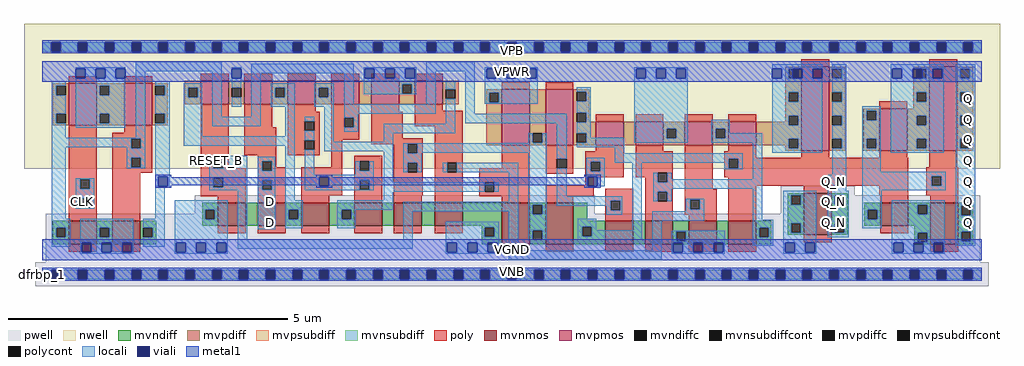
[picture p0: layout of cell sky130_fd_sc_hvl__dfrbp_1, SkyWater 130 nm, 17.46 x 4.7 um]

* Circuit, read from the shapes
.subckt sky130_fd_sc_hvl__dfrbp_1 CLK D RESET_B VGND VNB VPB VPWR Q Q_N
XM1 VGND CLK n1 VNB sky130_fd_pr__nfet_g5v0d10v5 w=0.42 l=0.5
XM2 n2 n1 VGND VNB sky130_fd_pr__nfet_g5v0d10v5 w=0.42 l=0.5
XM3 n3 RESET_B VGND VNB sky130_fd_pr__nfet_g5v0d10v5 w=0.42 l=0.5
XM4 n4 D n3 VNB sky130_fd_pr__nfet_g5v0d10v5 w=0.42 l=0.5
XM5 n5 n1 n4 VNB sky130_fd_pr__nfet_g5v0d10v5 w=0.42 l=0.5
XM6 n6 n2 n5 VNB sky130_fd_pr__nfet_g5v0d10v5 w=0.42 l=0.5
XM7 n7 n8 n6 VNB sky130_fd_pr__nfet_g5v0d10v5 w=0.42 l=0.5
XM8 VGND RESET_B n7 VNB sky130_fd_pr__nfet_g5v0d10v5 w=0.42 l=0.5
XM9 n8 n5 VGND VNB sky130_fd_pr__nfet_g5v0d10v5 w=0.75 l=0.5
XM10 n9 n2 n8 VNB sky130_fd_pr__nfet_g5v0d10v5 w=0.75 l=0.5
XM11 n10 n1 n9 VNB sky130_fd_pr__nfet_g5v0d10v5 w=0.42 l=0.5
XM12 VGND n11 n10 VNB sky130_fd_pr__nfet_g5v0d10v5 w=0.42 l=0.5
XM13 n12 RESET_B VGND VNB sky130_fd_pr__nfet_g5v0d10v5 w=0.42 l=0.5
XM14 n11 n9 n12 VNB sky130_fd_pr__nfet_g5v0d10v5 w=0.42 l=0.5
XM15 Q_N n9 VGND VNB sky130_fd_pr__nfet_g5v0d10v5 w=0.75 l=0.5
XM16 VGND n9 n13 VNB sky130_fd_pr__nfet_g5v0d10v5 w=0.42 l=0.5
XM17 Q n13 VGND VNB sky130_fd_pr__nfet_g5v0d10v5 w=0.75 l=0.5
XM18 VPWR CLK n1 VPB sky130_fd_pr__pfet_g5v0d10v5 w=0.75 l=0.5
XM19 n2 n1 VPWR VPB sky130_fd_pr__pfet_g5v0d10v5 w=0.75 l=0.5
XM20 VPWR RESET_B n4 VPB sky130_fd_pr__pfet_g5v0d10v5 w=0.42 l=0.5
XM21 n4 D VPWR VPB sky130_fd_pr__pfet_g5v0d10v5 w=0.42 l=0.5
XM22 n5 n2 n4 VPB sky130_fd_pr__pfet_g5v0d10v5 w=0.42 l=0.5
XM23 n14 n1 n5 VPB sky130_fd_pr__pfet_g5v0d10v5 w=0.42 l=0.5
XM24 VPWR n8 n14 VPB sky130_fd_pr__pfet_g5v0d10v5 w=0.42 l=0.5
XM25 n5 RESET_B VPWR VPB sky130_fd_pr__pfet_g5v0d10v5 w=0.42 l=0.5
XM26 n8 n5 VPWR VPB sky130_fd_pr__pfet_g5v0d10v5 w=1 l=0.5
XM27 n9 n1 n8 VPB sky130_fd_pr__pfet_g5v0d10v5 w=1 l=0.5
XM28 n15 n2 n9 VPB sky130_fd_pr__pfet_g5v0d10v5 w=0.42 l=0.5
XM29 VPWR n11 n15 VPB sky130_fd_pr__pfet_g5v0d10v5 w=0.42 l=0.5
XM30 n11 RESET_B VPWR VPB sky130_fd_pr__pfet_g5v0d10v5 w=0.42 l=0.5
XM31 VPWR n9 n11 VPB sky130_fd_pr__pfet_g5v0d10v5 w=0.42 l=0.5
XM32 Q_N n9 VPWR VPB sky130_fd_pr__pfet_g5v0d10v5 w=1.5 l=0.5
XM33 VPWR n9 n13 VPB sky130_fd_pr__pfet_g5v0d10v5 w=0.75 l=0.5
XM34 Q n13 VPWR VPB sky130_fd_pr__pfet_g5v0d10v5 w=1.5 l=0.5
.ends

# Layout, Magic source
magic
tech sky130A
magscale 1 2
<< nwell >>
rect -66 377 3426 897
<< pwell >>
rect 2641 283 2907 317
rect 545 217 1976 283
rect 2641 217 3356 283
rect 11 43 3356 217
rect -26 -43 3386 43
<< mvnmos >>
rect 94 107 194 191
rect 250 107 350 191
rect 628 173 728 257
rect 770 173 870 257
rect 926 173 1026 257
rect 1115 173 1215 257
rect 1257 173 1357 257
rect 1403 173 1503 257
rect 1644 107 1744 257
rect 1800 107 1900 257
rect 2014 107 2114 191
rect 2156 107 2256 191
rect 2312 107 2412 191
rect 2454 107 2554 191
rect 2724 141 2824 291
rect 2998 173 3098 257
rect 3177 107 3277 257
<< mvpmos >>
rect 94 533 194 683
rect 292 533 392 683
rect 566 608 666 692
rect 722 608 822 692
rect 878 608 978 692
rect 1034 608 1134 692
rect 1176 608 1276 692
rect 1332 608 1432 692
rect 1644 462 1744 662
rect 1800 462 1900 662
rect 1979 462 2079 546
rect 2122 462 2222 546
rect 2298 462 2398 546
rect 2454 462 2554 546
rect 2715 443 2815 743
rect 2994 443 3094 593
rect 3173 443 3273 743
<< mvndiff >>
rect 571 232 628 257
rect 571 198 583 232
rect 617 198 628 232
rect 37 166 94 191
rect 37 132 49 166
rect 83 132 94 166
rect 37 107 94 132
rect 194 166 250 191
rect 194 132 205 166
rect 239 132 250 166
rect 194 107 250 132
rect 350 166 407 191
rect 571 173 628 198
rect 728 173 770 257
rect 870 232 926 257
rect 870 198 881 232
rect 915 198 926 232
rect 870 173 926 198
rect 1026 232 1115 257
rect 1026 198 1070 232
rect 1104 198 1115 232
rect 1026 173 1115 198
rect 1215 173 1257 257
rect 1357 173 1403 257
rect 1503 173 1644 257
rect 350 132 361 166
rect 395 132 407 166
rect 1571 169 1644 173
rect 350 107 407 132
rect 1571 135 1583 169
rect 1617 135 1644 169
rect 1571 107 1644 135
rect 1744 249 1800 257
rect 1744 215 1755 249
rect 1789 215 1800 249
rect 1744 157 1800 215
rect 1744 123 1755 157
rect 1789 123 1800 157
rect 1744 107 1800 123
rect 1900 191 1950 257
rect 2667 283 2724 291
rect 2667 249 2679 283
rect 2713 249 2724 283
rect 1900 170 2014 191
rect 1900 136 1932 170
rect 1966 136 2014 170
rect 1900 107 2014 136
rect 2114 107 2156 191
rect 2256 152 2312 191
rect 2256 118 2267 152
rect 2301 118 2312 152
rect 2256 107 2312 118
rect 2412 107 2454 191
rect 2554 166 2607 191
rect 2554 132 2565 166
rect 2599 132 2607 166
rect 2667 183 2724 249
rect 2667 149 2679 183
rect 2713 149 2724 183
rect 2667 141 2724 149
rect 2824 283 2881 291
rect 2824 249 2835 283
rect 2869 249 2881 283
rect 2824 183 2881 249
rect 2824 149 2835 183
rect 2869 149 2881 183
rect 2941 232 2998 257
rect 2941 198 2953 232
rect 2987 198 2998 232
rect 2941 173 2998 198
rect 3098 249 3177 257
rect 3098 215 3132 249
rect 3166 215 3177 249
rect 3098 173 3177 215
rect 2824 141 2881 149
rect 3120 149 3177 173
rect 2554 107 2607 132
rect 3120 115 3132 149
rect 3166 115 3177 149
rect 3120 107 3177 115
rect 3277 245 3330 257
rect 3277 211 3288 245
rect 3322 211 3330 245
rect 3277 153 3330 211
rect 3277 119 3288 153
rect 3322 119 3330 153
rect 3277 107 3330 119
<< mvpdiff >>
rect 2658 735 2715 743
rect 2658 701 2670 735
rect 2704 701 2715 735
rect 37 675 94 683
rect 37 641 49 675
rect 83 641 94 675
rect 37 575 94 641
rect 37 541 49 575
rect 83 541 94 575
rect 37 533 94 541
rect 194 675 292 683
rect 194 641 205 675
rect 239 641 292 675
rect 194 575 292 641
rect 194 541 205 575
rect 239 541 292 575
rect 194 533 292 541
rect 392 675 449 683
rect 392 641 403 675
rect 437 641 449 675
rect 392 575 449 641
rect 509 667 566 692
rect 509 633 521 667
rect 555 633 566 667
rect 509 608 566 633
rect 666 667 722 692
rect 666 633 677 667
rect 711 633 722 667
rect 666 608 722 633
rect 822 667 878 692
rect 822 633 833 667
rect 867 633 878 667
rect 822 608 878 633
rect 978 667 1034 692
rect 978 633 989 667
rect 1023 633 1034 667
rect 978 608 1034 633
rect 1134 608 1176 692
rect 1276 681 1332 692
rect 1276 647 1287 681
rect 1321 647 1332 681
rect 1276 608 1332 647
rect 1432 662 1489 692
rect 1432 628 1443 662
rect 1477 628 1489 662
rect 1432 608 1489 628
rect 1587 649 1644 662
rect 1587 615 1599 649
rect 1633 615 1644 649
rect 392 541 403 575
rect 437 541 449 575
rect 392 533 449 541
rect 1587 462 1644 615
rect 1744 504 1800 662
rect 1744 470 1755 504
rect 1789 470 1800 504
rect 1744 462 1800 470
rect 1900 654 1957 662
rect 1900 620 1911 654
rect 1945 620 1957 654
rect 1900 579 1957 620
rect 1900 545 1911 579
rect 1945 546 1957 579
rect 2658 652 2715 701
rect 2658 618 2670 652
rect 2704 618 2715 652
rect 2658 568 2715 618
rect 2658 546 2670 568
rect 1945 545 1979 546
rect 1900 504 1979 545
rect 1900 470 1911 504
rect 1945 470 1979 504
rect 1900 462 1979 470
rect 2079 462 2122 546
rect 2222 521 2298 546
rect 2222 487 2233 521
rect 2267 487 2298 521
rect 2222 462 2298 487
rect 2398 521 2454 546
rect 2398 487 2409 521
rect 2443 487 2454 521
rect 2398 462 2454 487
rect 2554 534 2670 546
rect 2704 534 2715 568
rect 2554 485 2715 534
rect 2554 462 2670 485
rect 2658 451 2670 462
rect 2704 451 2715 485
rect 2658 443 2715 451
rect 2815 735 2872 743
rect 2815 701 2826 735
rect 2860 701 2872 735
rect 2815 652 2872 701
rect 2815 618 2826 652
rect 2860 618 2872 652
rect 3116 735 3173 743
rect 3116 701 3128 735
rect 3162 701 3173 735
rect 3116 652 3173 701
rect 2815 568 2872 618
rect 3116 618 3128 652
rect 3162 618 3173 652
rect 3116 593 3173 618
rect 2815 534 2826 568
rect 2860 534 2872 568
rect 2815 485 2872 534
rect 2815 451 2826 485
rect 2860 451 2872 485
rect 2815 443 2872 451
rect 2937 585 2994 593
rect 2937 551 2949 585
rect 2983 551 2994 585
rect 2937 485 2994 551
rect 2937 451 2949 485
rect 2983 451 2994 485
rect 2937 443 2994 451
rect 3094 568 3173 593
rect 3094 534 3128 568
rect 3162 534 3173 568
rect 3094 485 3173 534
rect 3094 451 3128 485
rect 3162 451 3173 485
rect 3094 443 3173 451
rect 3273 735 3330 743
rect 3273 701 3284 735
rect 3318 701 3330 735
rect 3273 652 3330 701
rect 3273 618 3284 652
rect 3318 618 3330 652
rect 3273 568 3330 618
rect 3273 534 3284 568
rect 3318 534 3330 568
rect 3273 485 3330 534
rect 3273 451 3284 485
rect 3318 451 3330 485
rect 3273 443 3330 451
<< mvndiffc >>
rect 583 198 617 232
rect 49 132 83 166
rect 205 132 239 166
rect 881 198 915 232
rect 1070 198 1104 232
rect 361 132 395 166
rect 1583 135 1617 169
rect 1755 215 1789 249
rect 1755 123 1789 157
rect 2679 249 2713 283
rect 1932 136 1966 170
rect 2267 118 2301 152
rect 2565 132 2599 166
rect 2679 149 2713 183
rect 2835 249 2869 283
rect 2835 149 2869 183
rect 2953 198 2987 232
rect 3132 215 3166 249
rect 3132 115 3166 149
rect 3288 211 3322 245
rect 3288 119 3322 153
<< mvpdiffc >>
rect 2670 701 2704 735
rect 49 641 83 675
rect 49 541 83 575
rect 205 641 239 675
rect 205 541 239 575
rect 403 641 437 675
rect 521 633 555 667
rect 677 633 711 667
rect 833 633 867 667
rect 989 633 1023 667
rect 1287 647 1321 681
rect 1443 628 1477 662
rect 1599 615 1633 649
rect 403 541 437 575
rect 1755 470 1789 504
rect 1911 620 1945 654
rect 1911 545 1945 579
rect 2670 618 2704 652
rect 1911 470 1945 504
rect 2233 487 2267 521
rect 2409 487 2443 521
rect 2670 534 2704 568
rect 2670 451 2704 485
rect 2826 701 2860 735
rect 2826 618 2860 652
rect 3128 701 3162 735
rect 3128 618 3162 652
rect 2826 534 2860 568
rect 2826 451 2860 485
rect 2949 551 2983 585
rect 2949 451 2983 485
rect 3128 534 3162 568
rect 3128 451 3162 485
rect 3284 701 3318 735
rect 3284 618 3318 652
rect 3284 534 3318 568
rect 3284 451 3318 485
<< mvpsubdiff >>
rect 0 -17 31 17
rect 65 -17 127 17
rect 161 -17 223 17
rect 257 -17 319 17
rect 353 -17 415 17
rect 449 -17 511 17
rect 545 -17 607 17
rect 641 -17 703 17
rect 737 -17 799 17
rect 833 -17 895 17
rect 929 -17 991 17
rect 1025 -17 1087 17
rect 1121 -17 1183 17
rect 1217 -17 1279 17
rect 1313 -17 1375 17
rect 1409 -17 1471 17
rect 1505 -17 1567 17
rect 1601 -17 1663 17
rect 1697 -17 1759 17
rect 1793 -17 1855 17
rect 1889 -17 1951 17
rect 1985 -17 2047 17
rect 2081 -17 2143 17
rect 2177 -17 2239 17
rect 2273 -17 2335 17
rect 2369 -17 2431 17
rect 2465 -17 2527 17
rect 2561 -17 2623 17
rect 2657 -17 2719 17
rect 2753 -17 2815 17
rect 2849 -17 2911 17
rect 2945 -17 3007 17
rect 3041 -17 3103 17
rect 3137 -17 3199 17
rect 3233 -17 3295 17
rect 3329 -17 3360 17
<< mvnsubdiff >>
rect 0 797 31 831
rect 65 797 127 831
rect 161 797 223 831
rect 257 797 319 831
rect 353 797 415 831
rect 449 797 511 831
rect 545 797 607 831
rect 641 797 703 831
rect 737 797 799 831
rect 833 797 895 831
rect 929 797 991 831
rect 1025 797 1087 831
rect 1121 797 1183 831
rect 1217 797 1279 831
rect 1313 797 1375 831
rect 1409 797 1471 831
rect 1505 797 1567 831
rect 1601 797 1663 831
rect 1697 797 1759 831
rect 1793 797 1855 831
rect 1889 797 1951 831
rect 1985 797 2047 831
rect 2081 797 2143 831
rect 2177 797 2239 831
rect 2273 797 2335 831
rect 2369 797 2431 831
rect 2465 797 2527 831
rect 2561 797 2623 831
rect 2657 797 2719 831
rect 2753 797 2815 831
rect 2849 797 2911 831
rect 2945 797 3007 831
rect 3041 797 3103 831
rect 3137 797 3199 831
rect 3233 797 3295 831
rect 3329 797 3360 831
<< mvpsubdiffcont >>
rect 31 -17 65 17
rect 127 -17 161 17
rect 223 -17 257 17
rect 319 -17 353 17
rect 415 -17 449 17
rect 511 -17 545 17
rect 607 -17 641 17
rect 703 -17 737 17
rect 799 -17 833 17
rect 895 -17 929 17
rect 991 -17 1025 17
rect 1087 -17 1121 17
rect 1183 -17 1217 17
rect 1279 -17 1313 17
rect 1375 -17 1409 17
rect 1471 -17 1505 17
rect 1567 -17 1601 17
rect 1663 -17 1697 17
rect 1759 -17 1793 17
rect 1855 -17 1889 17
rect 1951 -17 1985 17
rect 2047 -17 2081 17
rect 2143 -17 2177 17
rect 2239 -17 2273 17
rect 2335 -17 2369 17
rect 2431 -17 2465 17
rect 2527 -17 2561 17
rect 2623 -17 2657 17
rect 2719 -17 2753 17
rect 2815 -17 2849 17
rect 2911 -17 2945 17
rect 3007 -17 3041 17
rect 3103 -17 3137 17
rect 3199 -17 3233 17
rect 3295 -17 3329 17
<< mvnsubdiffcont >>
rect 31 797 65 831
rect 127 797 161 831
rect 223 797 257 831
rect 319 797 353 831
rect 415 797 449 831
rect 511 797 545 831
rect 607 797 641 831
rect 703 797 737 831
rect 799 797 833 831
rect 895 797 929 831
rect 991 797 1025 831
rect 1087 797 1121 831
rect 1183 797 1217 831
rect 1279 797 1313 831
rect 1375 797 1409 831
rect 1471 797 1505 831
rect 1567 797 1601 831
rect 1663 797 1697 831
rect 1759 797 1793 831
rect 1855 797 1889 831
rect 1951 797 1985 831
rect 2047 797 2081 831
rect 2143 797 2177 831
rect 2239 797 2273 831
rect 2335 797 2369 831
rect 2431 797 2465 831
rect 2527 797 2561 831
rect 2623 797 2657 831
rect 2719 797 2753 831
rect 2815 797 2849 831
rect 2911 797 2945 831
rect 3007 797 3041 831
rect 3103 797 3137 831
rect 3199 797 3233 831
rect 3295 797 3329 831
<< poly >>
rect 2715 743 2815 769
rect 3173 743 3273 769
rect 94 683 194 709
rect 292 683 392 709
rect 566 692 666 718
rect 722 692 822 718
rect 878 692 978 718
rect 1034 692 1134 718
rect 1176 692 1276 718
rect 1332 692 1432 718
rect 1644 662 1744 688
rect 1800 662 1900 688
rect 94 341 194 533
rect 292 507 392 533
rect 94 307 135 341
rect 169 307 194 341
rect 94 273 194 307
rect 94 239 135 273
rect 169 239 194 273
rect 94 191 194 239
rect 250 485 392 507
rect 250 451 317 485
rect 351 451 392 485
rect 250 417 392 451
rect 250 383 317 417
rect 351 383 392 417
rect 250 363 392 383
rect 566 413 666 608
rect 722 527 822 608
rect 878 582 978 608
rect 878 548 992 582
rect 722 427 836 527
rect 566 379 612 413
rect 646 379 666 413
rect 770 405 836 427
rect 878 514 939 548
rect 973 514 992 548
rect 878 480 992 514
rect 878 446 939 480
rect 973 446 992 480
rect 878 426 992 446
rect 1034 560 1134 608
rect 1034 526 1080 560
rect 1114 526 1134 560
rect 1034 482 1134 526
rect 1176 582 1276 608
rect 1332 586 1432 608
rect 1176 487 1290 582
rect 1332 529 1503 586
rect 250 191 350 363
rect 566 345 728 379
rect 566 311 612 345
rect 646 311 728 345
rect 566 279 728 311
rect 628 257 728 279
rect 770 371 786 405
rect 820 383 836 405
rect 1034 383 1073 482
rect 1176 467 1361 487
rect 1176 466 1307 467
rect 1257 433 1307 466
rect 1341 433 1361 467
rect 820 371 870 383
rect 770 337 870 371
rect 770 303 786 337
rect 820 303 870 337
rect 770 257 870 303
rect 926 283 1073 383
rect 1115 404 1215 424
rect 1115 370 1135 404
rect 1169 370 1215 404
rect 1115 336 1215 370
rect 1115 302 1135 336
rect 1169 302 1215 336
rect 926 257 1026 283
rect 1115 257 1215 302
rect 1257 399 1361 433
rect 1257 365 1307 399
rect 1341 365 1361 399
rect 1257 283 1361 365
rect 1403 399 1503 529
rect 1979 546 2079 572
rect 2122 546 2222 572
rect 2298 546 2398 572
rect 2454 546 2554 572
rect 1403 365 1449 399
rect 1483 365 1503 399
rect 1644 379 1744 462
rect 1257 257 1357 283
rect 1403 257 1503 365
rect 1563 329 1744 379
rect 1800 414 1900 462
rect 1979 440 2079 462
rect 1800 380 1841 414
rect 1875 380 1900 414
rect 1800 360 1900 380
rect 1942 402 2079 440
rect 1942 368 1962 402
rect 1996 368 2079 402
rect 1563 295 1583 329
rect 1617 295 1744 329
rect 1942 348 2079 368
rect 2122 440 2222 462
rect 2122 364 2256 440
rect 2122 348 2202 364
rect 1942 318 1972 348
rect 1563 279 1744 295
rect 1644 257 1744 279
rect 1800 279 1972 318
rect 2156 330 2202 348
rect 2236 330 2256 364
rect 1800 257 1900 279
rect 2014 264 2114 306
rect 628 147 728 173
rect 770 147 870 173
rect 926 147 1026 173
rect 1115 147 1215 173
rect 1257 147 1357 173
rect 1403 147 1503 173
rect 2014 230 2034 264
rect 2068 230 2114 264
rect 2014 191 2114 230
rect 2156 296 2256 330
rect 2156 262 2202 296
rect 2236 262 2256 296
rect 2156 191 2256 262
rect 2298 305 2398 462
rect 2454 440 2554 462
rect 2994 593 3094 619
rect 2440 417 2554 440
rect 2715 417 2815 443
rect 2994 417 3094 443
rect 2440 414 3098 417
rect 2440 380 2456 414
rect 2490 380 3098 414
rect 3173 383 3273 443
rect 2440 347 3098 380
rect 2454 317 3098 347
rect 2298 267 2412 305
rect 2298 233 2318 267
rect 2352 233 2412 267
rect 2298 213 2412 233
rect 2312 191 2412 213
rect 2454 191 2554 317
rect 2724 291 2824 317
rect 2994 283 3098 317
rect 3162 351 3277 383
rect 3162 317 3182 351
rect 3216 317 3277 351
rect 3162 283 3277 317
rect 2998 257 3098 283
rect 3177 257 3277 283
rect 2998 147 3098 173
rect 2724 115 2824 141
rect 94 81 194 107
rect 250 81 350 107
rect 1644 81 1744 107
rect 1800 81 1900 107
rect 2014 81 2114 107
rect 2156 81 2256 107
rect 2312 81 2412 107
rect 2454 81 2554 107
rect 3177 81 3277 107
<< polycont >>
rect 135 307 169 341
rect 135 239 169 273
rect 317 451 351 485
rect 317 383 351 417
rect 612 379 646 413
rect 939 514 973 548
rect 939 446 973 480
rect 1080 526 1114 560
rect 612 311 646 345
rect 786 371 820 405
rect 1307 433 1341 467
rect 786 303 820 337
rect 1135 370 1169 404
rect 1135 302 1169 336
rect 1307 365 1341 399
rect 1449 365 1483 399
rect 1841 380 1875 414
rect 1962 368 1996 402
rect 1583 295 1617 329
rect 2202 330 2236 364
rect 2034 230 2068 264
rect 2202 262 2236 296
rect 2456 380 2490 414
rect 2318 233 2352 267
rect 3182 317 3216 351
<< locali >>
rect 0 797 31 831
rect 65 797 127 831
rect 161 797 223 831
rect 257 797 319 831
rect 353 797 415 831
rect 449 797 511 831
rect 545 797 607 831
rect 641 797 703 831
rect 737 797 799 831
rect 833 797 895 831
rect 929 797 991 831
rect 1025 797 1087 831
rect 1121 797 1183 831
rect 1217 797 1279 831
rect 1313 797 1375 831
rect 1409 797 1471 831
rect 1505 797 1567 831
rect 1601 797 1663 831
rect 1697 797 1759 831
rect 1793 797 1855 831
rect 1889 797 1951 831
rect 1985 797 2047 831
rect 2081 797 2143 831
rect 2177 797 2239 831
rect 2273 797 2335 831
rect 2369 797 2431 831
rect 2465 797 2527 831
rect 2561 797 2623 831
rect 2657 797 2719 831
rect 2753 797 2815 831
rect 2849 797 2911 831
rect 2945 797 3007 831
rect 3041 797 3103 831
rect 3137 797 3199 831
rect 3233 797 3295 831
rect 3329 797 3360 831
rect 119 735 297 741
rect 153 701 191 735
rect 225 701 263 735
rect 33 675 83 691
rect 33 641 49 675
rect 33 575 83 641
rect 33 541 49 575
rect 33 489 83 541
rect 119 675 297 701
rect 119 641 205 675
rect 239 641 297 675
rect 119 575 297 641
rect 119 541 205 575
rect 239 541 297 575
rect 119 525 297 541
rect 333 727 641 761
rect 333 489 367 727
rect 33 485 367 489
rect 33 455 317 485
rect 33 199 83 455
rect 301 451 317 455
rect 351 451 367 485
rect 301 417 367 451
rect 301 383 317 417
rect 351 383 367 417
rect 301 380 367 383
rect 403 675 455 691
rect 437 641 455 675
rect 403 575 455 641
rect 437 541 455 575
rect 403 350 455 541
rect 505 667 571 684
rect 505 633 521 667
rect 555 633 571 667
rect 505 494 571 633
rect 607 564 641 727
rect 677 735 711 741
rect 677 667 711 701
rect 677 600 711 633
rect 747 720 1113 754
rect 747 564 781 720
rect 817 667 903 684
rect 817 633 833 667
rect 867 633 903 667
rect 817 600 903 633
rect 973 667 1043 684
rect 973 633 989 667
rect 1023 633 1043 667
rect 973 600 1043 633
rect 607 530 781 564
rect 869 494 903 600
rect 505 460 903 494
rect 119 341 185 344
rect 119 307 135 341
rect 169 307 185 341
rect 119 273 185 307
rect 119 239 135 273
rect 169 239 185 273
rect 119 235 185 239
rect 403 316 415 350
rect 449 316 455 350
rect 403 310 455 316
rect 596 413 733 424
rect 596 379 612 413
rect 646 379 733 413
rect 596 345 733 379
rect 596 311 612 345
rect 646 311 733 345
rect 403 199 437 310
rect 596 301 733 311
rect 33 166 99 199
rect 33 132 49 166
rect 83 132 99 166
rect 33 99 99 132
rect 135 166 325 199
rect 135 132 205 166
rect 239 132 325 166
rect 135 113 325 132
rect 135 79 141 113
rect 175 79 213 113
rect 247 79 285 113
rect 319 79 325 113
rect 361 166 437 199
rect 395 132 437 166
rect 361 99 437 132
rect 473 232 663 265
rect 473 198 583 232
rect 617 198 663 232
rect 473 113 663 198
rect 135 73 325 79
rect 473 79 479 113
rect 513 79 551 113
rect 585 79 623 113
rect 657 79 663 113
rect 699 126 733 301
rect 770 405 833 421
rect 770 371 786 405
rect 820 371 833 405
rect 770 337 833 371
rect 770 303 786 337
rect 820 303 833 337
rect 770 162 833 303
rect 869 265 903 460
rect 939 548 973 564
rect 939 480 973 514
rect 939 356 973 446
rect 1009 474 1043 600
rect 1079 609 1113 720
rect 1149 735 1337 741
rect 1149 701 1154 735
rect 1188 701 1226 735
rect 1260 701 1298 735
rect 1332 701 1337 735
rect 1149 681 1337 701
rect 1149 647 1287 681
rect 1321 647 1337 681
rect 1149 645 1337 647
rect 1373 727 1547 761
rect 1373 609 1407 727
rect 1079 575 1407 609
rect 1443 662 1477 691
rect 1079 560 1130 575
rect 1079 526 1080 560
rect 1114 526 1130 560
rect 1443 539 1477 628
rect 1513 574 1547 727
rect 1583 735 1773 741
rect 1583 701 1589 735
rect 1623 701 1661 735
rect 1695 701 1733 735
rect 1767 701 1773 735
rect 1583 649 1773 701
rect 2118 735 2308 741
rect 2118 701 2124 735
rect 2158 701 2196 735
rect 2230 701 2268 735
rect 2302 701 2308 735
rect 1583 615 1599 649
rect 1633 615 1773 649
rect 1583 610 1773 615
rect 1911 654 1961 670
rect 1945 620 1961 654
rect 1911 579 1961 620
rect 1513 540 1875 574
rect 1079 510 1130 526
rect 1221 505 1477 539
rect 1221 474 1255 505
rect 1009 440 1255 474
rect 1739 470 1755 504
rect 1789 470 1805 504
rect 1739 469 1805 470
rect 1119 370 1135 404
rect 1169 370 1185 404
rect 1119 356 1185 370
rect 939 350 1185 356
rect 939 316 991 350
rect 1025 336 1185 350
rect 1025 316 1135 336
rect 939 302 1135 316
rect 1169 302 1185 336
rect 939 301 1185 302
rect 1221 329 1255 440
rect 1291 467 1805 469
rect 1291 433 1307 467
rect 1341 435 1805 467
rect 1341 433 1357 435
rect 1291 399 1357 433
rect 1291 365 1307 399
rect 1341 365 1357 399
rect 1433 365 1449 399
rect 1483 365 1703 399
rect 1221 295 1583 329
rect 1617 295 1633 329
rect 1221 265 1255 295
rect 869 232 931 265
rect 869 198 881 232
rect 915 198 931 232
rect 869 165 931 198
rect 1054 232 1255 265
rect 1669 259 1703 365
rect 1054 198 1070 232
rect 1104 231 1255 232
rect 1104 198 1120 231
rect 1054 165 1120 198
rect 1291 225 1703 259
rect 1291 126 1325 225
rect 699 92 1325 126
rect 1443 169 1633 189
rect 1443 135 1583 169
rect 1617 135 1633 169
rect 1443 113 1633 135
rect 473 73 663 79
rect 1443 79 1449 113
rect 1483 79 1521 113
rect 1555 79 1593 113
rect 1627 79 1633 113
rect 1443 73 1633 79
rect 1669 87 1703 225
rect 1739 249 1805 435
rect 1739 215 1755 249
rect 1789 215 1805 249
rect 1841 414 1875 540
rect 1945 545 1961 579
rect 1911 504 1961 545
rect 1945 488 1961 504
rect 2118 521 2308 701
rect 2612 735 2790 751
rect 2646 701 2670 735
rect 2718 701 2756 735
rect 2612 652 2790 701
rect 2612 618 2670 652
rect 2704 618 2790 652
rect 2612 568 2790 618
rect 1945 470 2082 488
rect 2118 487 2233 521
rect 2267 487 2308 521
rect 2118 470 2308 487
rect 2393 521 2459 554
rect 2393 487 2409 521
rect 2443 504 2459 521
rect 2612 534 2670 568
rect 2704 534 2790 568
rect 2443 487 2576 504
rect 2393 470 2576 487
rect 1911 454 2082 470
rect 2048 434 2082 454
rect 1841 280 1875 380
rect 1945 402 2012 418
rect 1945 368 1962 402
rect 1996 368 2012 402
rect 2048 414 2506 434
rect 2048 400 2456 414
rect 1945 350 2012 368
rect 1945 316 1951 350
rect 1985 316 2012 350
rect 1841 264 2075 280
rect 1841 246 2034 264
rect 1739 157 1805 215
rect 2018 230 2034 246
rect 2068 230 2075 264
rect 2018 214 2075 230
rect 1739 123 1755 157
rect 1789 123 1805 157
rect 1916 170 1982 199
rect 1916 136 1932 170
rect 1966 157 1982 170
rect 2111 157 2145 400
rect 2440 380 2456 400
rect 2490 380 2506 414
rect 2440 376 2506 380
rect 2186 330 2202 364
rect 2236 340 2252 364
rect 2542 340 2576 470
rect 2612 485 2790 534
rect 2612 451 2670 485
rect 2704 451 2790 485
rect 2612 435 2790 451
rect 2826 735 2876 751
rect 2860 701 2876 735
rect 2826 652 2876 701
rect 2860 618 2876 652
rect 2826 568 2876 618
rect 3035 735 3225 751
rect 3035 701 3041 735
rect 3075 701 3113 735
rect 3162 701 3185 735
rect 3219 701 3225 735
rect 3035 652 3225 701
rect 3035 618 3128 652
rect 3162 618 3225 652
rect 2860 534 2876 568
rect 2826 485 2876 534
rect 2860 451 2876 485
rect 2826 356 2876 451
rect 2236 330 2576 340
rect 2186 306 2576 330
rect 2186 296 2252 306
rect 2186 262 2202 296
rect 2236 262 2252 296
rect 2302 267 2368 270
rect 2302 233 2318 267
rect 2352 233 2368 267
rect 2302 226 2368 233
rect 1966 136 2145 157
rect 1916 123 2145 136
rect 2181 192 2368 226
rect 2542 195 2576 306
rect 2809 299 2876 356
rect 2933 585 2999 601
rect 2933 551 2949 585
rect 2983 551 2999 585
rect 2933 485 2999 551
rect 2933 451 2949 485
rect 2983 451 2999 485
rect 2933 367 2999 451
rect 3035 568 3225 618
rect 3035 534 3128 568
rect 3162 534 3225 568
rect 3035 485 3225 534
rect 3035 451 3128 485
rect 3162 451 3225 485
rect 3035 435 3225 451
rect 3268 735 3338 751
rect 3268 701 3284 735
rect 3318 701 3338 735
rect 3268 652 3338 701
rect 3268 618 3284 652
rect 3318 618 3338 652
rect 3268 568 3338 618
rect 3268 534 3284 568
rect 3318 534 3338 568
rect 3268 485 3338 534
rect 3268 451 3284 485
rect 3318 451 3338 485
rect 2933 351 3232 367
rect 2933 317 3182 351
rect 3216 317 3232 351
rect 2933 301 3232 317
rect 2651 283 2769 299
rect 2651 249 2679 283
rect 2713 249 2769 283
rect 2181 87 2215 192
rect 2542 166 2615 195
rect 1669 53 2215 87
rect 2251 152 2441 156
rect 2251 118 2267 152
rect 2301 118 2441 152
rect 2251 113 2441 118
rect 2251 79 2257 113
rect 2291 79 2329 113
rect 2363 79 2401 113
rect 2435 79 2441 113
rect 2542 132 2565 166
rect 2599 132 2615 166
rect 2542 103 2615 132
rect 2651 183 2769 249
rect 2651 149 2679 183
rect 2713 149 2769 183
rect 2651 113 2769 149
rect 2809 283 2885 299
rect 2809 249 2835 283
rect 2869 249 2885 283
rect 2809 183 2885 249
rect 2809 149 2835 183
rect 2869 149 2885 183
rect 2933 232 3003 301
rect 2933 198 2953 232
rect 2987 198 3003 232
rect 2933 165 3003 198
rect 3039 249 3229 265
rect 3039 215 3132 249
rect 3166 215 3229 249
rect 2809 133 2885 149
rect 3039 149 3229 215
rect 2251 73 2441 79
rect 2651 79 2657 113
rect 2691 79 2729 113
rect 2763 79 2769 113
rect 2651 73 2769 79
rect 3039 115 3132 149
rect 3166 115 3229 149
rect 3039 113 3229 115
rect 3039 79 3045 113
rect 3079 79 3117 113
rect 3151 79 3189 113
rect 3223 79 3229 113
rect 3268 245 3338 451
rect 3268 211 3288 245
rect 3322 211 3338 245
rect 3268 153 3338 211
rect 3268 119 3288 153
rect 3322 119 3338 153
rect 3268 103 3338 119
rect 3039 73 3229 79
rect 0 -17 31 17
rect 65 -17 127 17
rect 161 -17 223 17
rect 257 -17 319 17
rect 353 -17 415 17
rect 449 -17 511 17
rect 545 -17 607 17
rect 641 -17 703 17
rect 737 -17 799 17
rect 833 -17 895 17
rect 929 -17 991 17
rect 1025 -17 1087 17
rect 1121 -17 1183 17
rect 1217 -17 1279 17
rect 1313 -17 1375 17
rect 1409 -17 1471 17
rect 1505 -17 1567 17
rect 1601 -17 1663 17
rect 1697 -17 1759 17
rect 1793 -17 1855 17
rect 1889 -17 1951 17
rect 1985 -17 2047 17
rect 2081 -17 2143 17
rect 2177 -17 2239 17
rect 2273 -17 2335 17
rect 2369 -17 2431 17
rect 2465 -17 2527 17
rect 2561 -17 2623 17
rect 2657 -17 2719 17
rect 2753 -17 2815 17
rect 2849 -17 2911 17
rect 2945 -17 3007 17
rect 3041 -17 3103 17
rect 3137 -17 3199 17
rect 3233 -17 3295 17
rect 3329 -17 3360 17
<< viali >>
rect 31 797 65 831
rect 127 797 161 831
rect 223 797 257 831
rect 319 797 353 831
rect 415 797 449 831
rect 511 797 545 831
rect 607 797 641 831
rect 703 797 737 831
rect 799 797 833 831
rect 895 797 929 831
rect 991 797 1025 831
rect 1087 797 1121 831
rect 1183 797 1217 831
rect 1279 797 1313 831
rect 1375 797 1409 831
rect 1471 797 1505 831
rect 1567 797 1601 831
rect 1663 797 1697 831
rect 1759 797 1793 831
rect 1855 797 1889 831
rect 1951 797 1985 831
rect 2047 797 2081 831
rect 2143 797 2177 831
rect 2239 797 2273 831
rect 2335 797 2369 831
rect 2431 797 2465 831
rect 2527 797 2561 831
rect 2623 797 2657 831
rect 2719 797 2753 831
rect 2815 797 2849 831
rect 2911 797 2945 831
rect 3007 797 3041 831
rect 3103 797 3137 831
rect 3199 797 3233 831
rect 3295 797 3329 831
rect 119 701 153 735
rect 191 701 225 735
rect 263 701 297 735
rect 677 701 711 735
rect 415 316 449 350
rect 141 79 175 113
rect 213 79 247 113
rect 285 79 319 113
rect 479 79 513 113
rect 551 79 585 113
rect 623 79 657 113
rect 1154 701 1188 735
rect 1226 701 1260 735
rect 1298 701 1332 735
rect 1589 701 1623 735
rect 1661 701 1695 735
rect 1733 701 1767 735
rect 2124 701 2158 735
rect 2196 701 2230 735
rect 2268 701 2302 735
rect 991 316 1025 350
rect 1449 79 1483 113
rect 1521 79 1555 113
rect 1593 79 1627 113
rect 2612 701 2646 735
rect 2684 701 2704 735
rect 2704 701 2718 735
rect 2756 701 2790 735
rect 1951 316 1985 350
rect 3041 701 3075 735
rect 3113 701 3128 735
rect 3128 701 3147 735
rect 3185 701 3219 735
rect 2257 79 2291 113
rect 2329 79 2363 113
rect 2401 79 2435 113
rect 2657 79 2691 113
rect 2729 79 2763 113
rect 3045 79 3079 113
rect 3117 79 3151 113
rect 3189 79 3223 113
rect 31 -17 65 17
rect 127 -17 161 17
rect 223 -17 257 17
rect 319 -17 353 17
rect 415 -17 449 17
rect 511 -17 545 17
rect 607 -17 641 17
rect 703 -17 737 17
rect 799 -17 833 17
rect 895 -17 929 17
rect 991 -17 1025 17
rect 1087 -17 1121 17
rect 1183 -17 1217 17
rect 1279 -17 1313 17
rect 1375 -17 1409 17
rect 1471 -17 1505 17
rect 1567 -17 1601 17
rect 1663 -17 1697 17
rect 1759 -17 1793 17
rect 1855 -17 1889 17
rect 1951 -17 1985 17
rect 2047 -17 2081 17
rect 2143 -17 2177 17
rect 2239 -17 2273 17
rect 2335 -17 2369 17
rect 2431 -17 2465 17
rect 2527 -17 2561 17
rect 2623 -17 2657 17
rect 2719 -17 2753 17
rect 2815 -17 2849 17
rect 2911 -17 2945 17
rect 3007 -17 3041 17
rect 3103 -17 3137 17
rect 3199 -17 3233 17
rect 3295 -17 3329 17
<< metal1 >>
rect 0 831 3360 837
rect 0 797 31 831
rect 65 797 127 831
rect 161 797 223 831
rect 257 797 319 831
rect 353 797 415 831
rect 449 797 511 831
rect 545 797 607 831
rect 641 797 703 831
rect 737 797 799 831
rect 833 797 895 831
rect 929 797 991 831
rect 1025 797 1087 831
rect 1121 797 1183 831
rect 1217 797 1279 831
rect 1313 797 1375 831
rect 1409 797 1471 831
rect 1505 797 1567 831
rect 1601 797 1663 831
rect 1697 797 1759 831
rect 1793 797 1855 831
rect 1889 797 1951 831
rect 1985 797 2047 831
rect 2081 797 2143 831
rect 2177 797 2239 831
rect 2273 797 2335 831
rect 2369 797 2431 831
rect 2465 797 2527 831
rect 2561 797 2623 831
rect 2657 797 2719 831
rect 2753 797 2815 831
rect 2849 797 2911 831
rect 2945 797 3007 831
rect 3041 797 3103 831
rect 3137 797 3199 831
rect 3233 797 3295 831
rect 3329 797 3360 831
rect 0 791 3360 797
rect 0 735 3360 763
rect 0 701 119 735
rect 153 701 191 735
rect 225 701 263 735
rect 297 701 677 735
rect 711 701 1154 735
rect 1188 701 1226 735
rect 1260 701 1298 735
rect 1332 701 1589 735
rect 1623 701 1661 735
rect 1695 701 1733 735
rect 1767 701 2124 735
rect 2158 701 2196 735
rect 2230 701 2268 735
rect 2302 701 2612 735
rect 2646 701 2684 735
rect 2718 701 2756 735
rect 2790 701 3041 735
rect 3075 701 3113 735
rect 3147 701 3185 735
rect 3219 701 3360 735
rect 0 689 3360 701
rect 403 350 461 356
rect 403 316 415 350
rect 449 347 461 350
rect 979 350 1037 356
rect 979 347 991 350
rect 449 319 991 347
rect 449 316 461 319
rect 403 310 461 316
rect 979 316 991 319
rect 1025 347 1037 350
rect 1939 350 1997 356
rect 1939 347 1951 350
rect 1025 319 1951 347
rect 1025 316 1037 319
rect 979 310 1037 316
rect 1939 316 1951 319
rect 1985 316 1997 350
rect 1939 310 1997 316
rect 0 113 3360 125
rect 0 79 141 113
rect 175 79 213 113
rect 247 79 285 113
rect 319 79 479 113
rect 513 79 551 113
rect 585 79 623 113
rect 657 79 1449 113
rect 1483 79 1521 113
rect 1555 79 1593 113
rect 1627 79 2257 113
rect 2291 79 2329 113
rect 2363 79 2401 113
rect 2435 79 2657 113
rect 2691 79 2729 113
rect 2763 79 3045 113
rect 3079 79 3117 113
rect 3151 79 3189 113
rect 3223 79 3360 113
rect 0 51 3360 79
rect 0 17 3360 23
rect 0 -17 31 17
rect 65 -17 127 17
rect 161 -17 223 17
rect 257 -17 319 17
rect 353 -17 415 17
rect 449 -17 511 17
rect 545 -17 607 17
rect 641 -17 703 17
rect 737 -17 799 17
rect 833 -17 895 17
rect 929 -17 991 17
rect 1025 -17 1087 17
rect 1121 -17 1183 17
rect 1217 -17 1279 17
rect 1313 -17 1375 17
rect 1409 -17 1471 17
rect 1505 -17 1567 17
rect 1601 -17 1663 17
rect 1697 -17 1759 17
rect 1793 -17 1855 17
rect 1889 -17 1951 17
rect 1985 -17 2047 17
rect 2081 -17 2143 17
rect 2177 -17 2239 17
rect 2273 -17 2335 17
rect 2369 -17 2431 17
rect 2465 -17 2527 17
rect 2561 -17 2623 17
rect 2657 -17 2719 17
rect 2753 -17 2815 17
rect 2849 -17 2911 17
rect 2945 -17 3007 17
rect 3041 -17 3103 17
rect 3137 -17 3199 17
rect 3233 -17 3295 17
rect 3329 -17 3360 17
rect 0 -23 3360 -17
<< labels >>
rlabel comment s 0 0 0 0 4 dfrbp_1
flabel metal1 s 0 51 3360 125 0 FreeSans 340 0 0 0 VGND
port 4 nsew ground bidirectional
flabel metal1 s 0 0 3360 23 0 FreeSans 340 0 0 0 VNB
port 5 nsew ground bidirectional
flabel metal1 s 0 689 3360 763 0 FreeSans 340 0 0 0 VPWR
port 7 nsew power bidirectional
flabel metal1 s 0 791 3360 814 0 FreeSans 340 0 0 0 VPB
port 6 nsew power bidirectional
flabel locali s 799 168 833 202 0 FreeSans 340 0 0 0 D
port 2 nsew signal input
flabel locali s 799 242 833 276 0 FreeSans 340 0 0 0 D
port 2 nsew signal input
flabel locali s 127 242 161 276 0 FreeSans 340 0 0 0 CLK
port 1 nsew clock input
flabel locali s 3295 168 3329 202 0 FreeSans 340 0 0 0 Q
port 8 nsew signal output
flabel locali s 3295 242 3329 276 0 FreeSans 340 0 0 0 Q
port 8 nsew signal output
flabel locali s 3295 316 3329 350 0 FreeSans 340 0 0 0 Q
port 8 nsew signal output
flabel locali s 3295 390 3329 424 0 FreeSans 340 0 0 0 Q
port 8 nsew signal output
flabel locali s 3295 464 3329 498 0 FreeSans 340 0 0 0 Q
port 8 nsew signal output
flabel locali s 3295 538 3329 572 0 FreeSans 340 0 0 0 Q
port 8 nsew signal output
flabel locali s 3295 612 3329 646 0 FreeSans 340 0 0 0 Q
port 8 nsew signal output
flabel locali s 2815 168 2849 202 0 FreeSans 340 0 0 0 Q_N
port 9 nsew signal output
flabel locali s 2815 242 2849 276 0 FreeSans 340 0 0 0 Q_N
port 9 nsew signal output
flabel locali s 2815 316 2849 350 0 FreeSans 340 0 0 0 Q_N
port 9 nsew signal output
flabel locali s 607 390 641 424 0 FreeSans 340 0 0 0 RESET_B
port 3 nsew signal input
<< properties >>
string FIXED_BBOX 0 0 3360 814
string GDS_END 1031540
string GDS_FILE $PDKPATH/libs.ref/sky130_fd_sc_hvl/gds/sky130_fd_sc_hvl.gds
string GDS_START 1000276
string LEFclass CORE
string LEFsite unithv
string LEFsymmetry X Y
<< end >>
